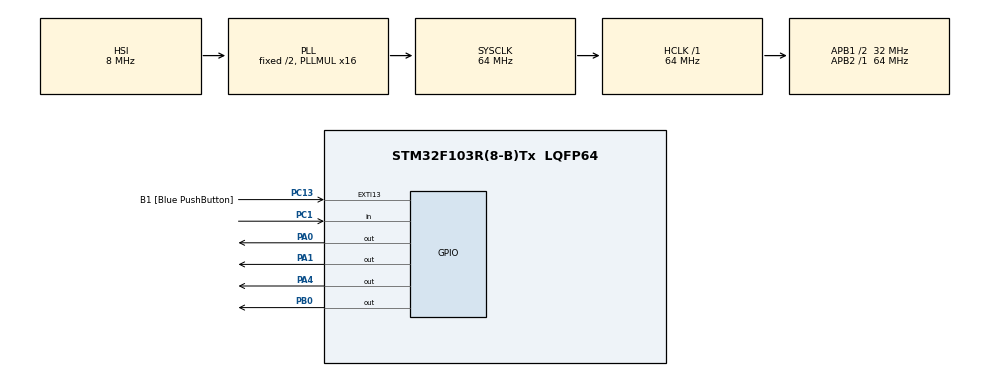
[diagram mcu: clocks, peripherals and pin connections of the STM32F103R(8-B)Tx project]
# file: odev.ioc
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Mcu.Family=STM32F1
Mcu.Name=STM32F103R(8-B)Tx
Mcu.Package=LQFP64
NVIC.EXTI15_10_IRQn=true\:0\:0\:false\:false\:true\:true\:true\:true
NVIC.PriorityGroup=NVIC_PRIORITYGROUP_4
PA0-WKUP.Signal=GPIO_Output
PA1.Signal=GPIO_Output
PA13.GPIO_Label=TMS
PA13.Mode=Serial_Wire
PA13.Signal=SYS_JTMS-SWDIO
PA14.GPIO_Label=TCK
PA14.Mode=Serial_Wire
PA14.Signal=SYS_JTCK-SWCLK
PA4.Signal=GPIO_Output
PB0.Signal=GPIO_Output
PB3.GPIO_Label=SWO
PB3.Signal=SYS_JTDO-TRACESWO
PC1.Signal=GPIO_Input
PC13-TAMPER-RTC.GPIO_Label=B1 [Blue PushButton]
PC13-TAMPER-RTC.GPIO_PuPd=GPIO_NOPULL
PC13-TAMPER-RTC.Signal=GPXTI13
PC14-OSC32_IN.Mode=LSE-External-Oscillator
PC14-OSC32_IN.Signal=RCC_OSC32_IN
PC15-OSC32_OUT.Mode=LSE-External-Oscillator
PC15-OSC32_OUT.Signal=RCC_OSC32_OUT
PD0-OSC_IN.Mode=HSE-External-Clock-Source
PD0-OSC_IN.Signal=RCC_OSC_IN
PD1-OSC_OUT.Mode=HSE-External-Clock-Source
PD1-OSC_OUT.Signal=RCC_OSC_OUT
ProjectManager.HeapSize=0x200
ProjectManager.StackSize=0x400
ProjectManager.TargetToolchain=STM32CubeIDE
RCC.AHBFreq_Value=64000000
RCC.APB1CLKDivider=RCC_HCLK_DIV2
RCC.APB1Freq_Value=32000000
RCC.APB1TimFreq_Value=64000000
RCC.APB2Freq_Value=64000000
RCC.APB2TimFreq_Value=64000000
RCC.HCLKFreq_Value=64000000
RCC.PLLMUL=RCC_PLL_MUL16
RCC.RTCClockSelection=RCC_RTCCLKSOURCE_LSE
RCC.SYSCLKFreq_VALUE=64000000
RCC.SYSCLKSource=RCC_SYSCLKSOURCE_PLLCLK
RCC.USBFreq_Value=64000000
board=NUCLEO-F103RB

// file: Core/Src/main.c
/* USER CODE BEGIN Header */
/**
  ******************************************************************************
  * @file           : main.c
  * @brief          : Main program body
  ******************************************************************************
  * @attention
  *
  * Copyright (c) 2025 STMicroelectronics.
  * All rights reserved.
  *
  * This software is licensed under terms that can be found in the LICENSE file
  * in the root directory of this software component.
  * If no LICENSE file comes with this software, it is provided AS-IS.
  *
  ******************************************************************************
  */
/* USER CODE END Header */
#include "main.h"

void SystemClock_Config(void);
static void MX_GPIO_Init(void);

/* USER CODE BEGIN 0 */
int btn = 0;

/* USER CODE END 0 */

int main(void)
{

  /* MCU Configuration--------------------------------------------------------*/

  /* Reset of all peripherals, Initializes the Flash interface and the Systick. */
  HAL_Init();

  /* USER CODE BEGIN Init */
  int led_state = 0;

  /* USER CODE END Init */

  /* Configure the system clock */
  SystemClock_Config();

  /* Initialize all configured peripherals */
  MX_GPIO_Init();

  /* Infinite loop */
  /* USER CODE BEGIN WHILE */
  while (1)
  {
	     btn = HAL_GPIO_ReadPin(GPIOC, GPIO_PIN_1);  // Buton durumunu oku

	        if (btn == GPIO_PIN_SET) {
	            HAL_Delay(200); // Buton sıçramasını önlemek için gecikme

	            led_state = (led_state + 1) % 4; // 0-1-2-3 döngüsü

	            // Tüm LED'leri kapat
	            HAL_GPIO_WritePin(GPIOA, GPIO_PIN_0, GPIO_PIN_RESET);
	            HAL_GPIO_WritePin(GPIOB, GPIO_PIN_0, GPIO_PIN_RESET);
	            HAL_GPIO_WritePin(GPIOA, GPIO_PIN_4, GPIO_PIN_RESET);
	            HAL_GPIO_WritePin(GPIOA, GPIO_PIN_1, GPIO_PIN_RESET);

	            // Sırasıyla bir LED'i yak
	            switch (led_state) {
	                case 0: HAL_GPIO_WritePin(GPIOA, GPIO_PIN_0, GPIO_PIN_SET); break;
	                case 1: HAL_GPIO_WritePin(GPIOB, GPIO_PIN_0, GPIO_PIN_SET); break;
	                case 2: HAL_GPIO_WritePin(GPIOA, GPIO_PIN_4, GPIO_PIN_SET); break;
	                case 3: HAL_GPIO_WritePin(GPIOA, GPIO_PIN_1, GPIO_PIN_SET); break;
	            }

	            while (HAL_GPIO_ReadPin(GPIOC, GPIO_PIN_1) == GPIO_PIN_SET); // Buton bırakılana kadar bekle
	        }

    /* USER CODE END WHILE */

  }
}

void SystemClock_Config(void)
{
  RCC_OscInitTypeDef RCC_OscInitStruct = {0};
  RCC_ClkInitTypeDef RCC_ClkInitStruct = {0};

  /** Initializes the RCC Oscillators according to the specified parameters
  * in the RCC_OscInitTypeDef structure.
  */
  RCC_OscInitStruct.OscillatorType = RCC_OSCILLATORTYPE_HSI;
  RCC_OscInitStruct.HSIState = RCC_HSI_ON;
  RCC_OscInitStruct.HSICalibrationValue = RCC_HSICALIBRATION_DEFAULT;
  RCC_OscInitStruct.PLL.PLLState = RCC_PLL_ON;
  RCC_OscInitStruct.PLL.PLLSource = RCC_PLLSOURCE_HSI_DIV2;
  RCC_OscInitStruct.PLL.PLLMUL = RCC_PLL_MUL16;
  if (HAL_RCC_OscConfig(&RCC_OscInitStruct) != HAL_OK)
  {
    Error_Handler();
  }

  /** Initializes the CPU, AHB and APB buses clocks
  */
  RCC_ClkInitStruct.ClockType = RCC_CLOCKTYPE_HCLK|RCC_CLOCKTYPE_SYSCLK
                              |RCC_CLOCKTYPE_PCLK1|RCC_CLOCKTYPE_PCLK2;
  RCC_ClkInitStruct.SYSCLKSource = RCC_SYSCLKSOURCE_PLLCLK;
  RCC_ClkInitStruct.AHBCLKDivider = RCC_SYSCLK_DIV1;
  RCC_ClkInitStruct.APB1CLKDivider = RCC_HCLK_DIV2;
  RCC_ClkInitStruct.APB2CLKDivider = RCC_HCLK_DIV1;

  if (HAL_RCC_ClockConfig(&RCC_ClkInitStruct, FLASH_LATENCY_2) != HAL_OK)
  {
    Error_Handler();
  }
}

static void MX_GPIO_Init(void)
{
  GPIO_InitTypeDef GPIO_InitStruct = {0};

  /* GPIO Ports Clock Enable */
  __HAL_RCC_GPIOC_CLK_ENABLE();
  __HAL_RCC_GPIOD_CLK_ENABLE();
  __HAL_RCC_GPIOA_CLK_ENABLE();
  __HAL_RCC_GPIOB_CLK_ENABLE();

  /*Configure GPIO pin Output Level */
  HAL_GPIO_WritePin(GPIOA, GPIO_PIN_0|GPIO_PIN_1|GPIO_PIN_4, GPIO_PIN_RESET);

  /*Configure GPIO pin Output Level */
  HAL_GPIO_WritePin(GPIOB, GPIO_PIN_0, GPIO_PIN_RESET);

  /*Configure GPIO pin : B1_Pin */
  GPIO_InitStruct.Pin = B1_Pin;
  GPIO_InitStruct.Mode = GPIO_MODE_IT_RISING;
  GPIO_InitStruct.Pull = GPIO_NOPULL;
  HAL_GPIO_Init(B1_GPIO_Port, &GPIO_InitStruct);

  /*Configure GPIO pin : PC1 */
  GPIO_InitStruct.Pin = GPIO_PIN_1;
  GPIO_InitStruct.Mode = GPIO_MODE_INPUT;
  GPIO_InitStruct.Pull = GPIO_NOPULL;
  HAL_GPIO_Init(GPIOC, &GPIO_InitStruct);

  /*Configure GPIO pins : PA0 PA1 PA4 */
  GPIO_InitStruct.Pin = GPIO_PIN_0|GPIO_PIN_1|GPIO_PIN_4;
  GPIO_InitStruct.Mode = GPIO_MODE_OUTPUT_PP;
  GPIO_InitStruct.Pull = GPIO_NOPULL;
  GPIO_InitStruct.Speed = GPIO_SPEED_FREQ_LOW;
  HAL_GPIO_Init(GPIOA, &GPIO_InitStruct);

  /*Configure GPIO pin : PB0 */
  GPIO_InitStruct.Pin = GPIO_PIN_0;
  GPIO_InitStruct.Mode = GPIO_MODE_OUTPUT_PP;
  GPIO_InitStruct.Pull = GPIO_NOPULL;
  GPIO_InitStruct.Speed = GPIO_SPEED_FREQ_LOW;
  HAL_GPIO_Init(GPIOB, &GPIO_InitStruct);

  /* EXTI interrupt init*/
  HAL_NVIC_SetPriority(EXTI15_10_IRQn, 0, 0);
  HAL_NVIC_EnableIRQ(EXTI15_10_IRQn);

}

void Error_Handler(void)
{
  __disable_irq();
  while (1)
  {
  }
}
